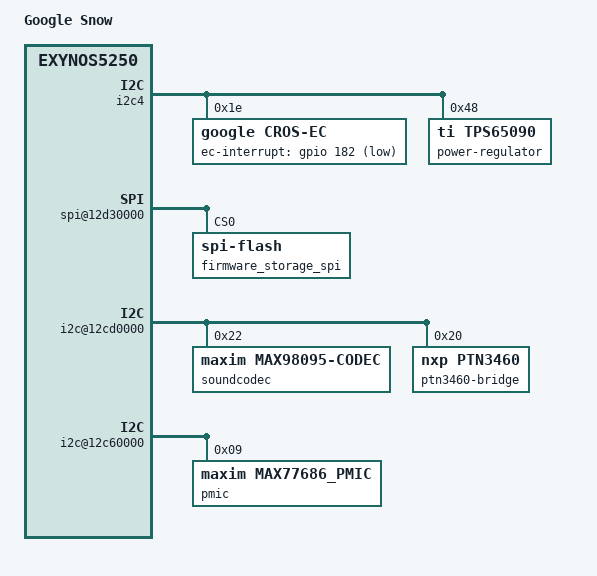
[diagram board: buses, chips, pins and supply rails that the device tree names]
/*
 * SAMSUNG Snow board device tree source
 *
 * Copyright (c) 2012 Samsung Electronics Co., Ltd.
 *		http://www.samsung.com
 *
 * This program is free software; you can redistribute it and/or modify
 * it under the terms of the GNU General Public License version 2 as
 * published by the Free Software Foundation.
*/

/dts-v1/;
#include "exynos5250.dtsi"

/ {
	model = "Google Snow";
	compatible = "google,snow", "samsung,exynos5250";

	aliases {
		i2c0 = "/i2c@12c60000";
		i2c1 = "/i2c@12c70000";
		i2c2 = "/i2c@12c80000";
		i2c3 = "/i2c@12c90000";
		i2c4 = "/i2c@12ca0000";
		i2c5 = "/i2c@12cb0000";
		i2c6 = "/i2c@12cc0000";
		i2c7 = "/i2c@12cd0000";
		spi0 = "/spi@12d20000";
		spi1 = "/spi@12d30000";
		spi2 = "/spi@12d40000";
		spi3 = "/spi@131a0000";
		spi4 = "/spi@131b0000";
		mmc0 = "/mmc@12200000";
		mmc1 = "/mmc@12210000";
		mmc2 = "/mmc@12220000";
		mmc3 = "/mmc@12230000";
		serial0 = "/serial@12C30000";
		console = "/serial@12C30000";
		i2s = "/sound@3830000";
	};

	i2c4: i2c@12ca0000 {
		cros-ec@1e {
			reg = <0x1e>;
			compatible = "google,cros-ec";
			i2c-max-frequency = <100000>;
			ec-interrupt = <&gpio 182 1>;
		};

		power-regulator@48 {
			compatible = "ti,tps65090";
			reg = <0x48>;
		};
	};

	spi@12d30000 {
		spi-max-frequency = <50000000>;
		firmware_storage_spi: flash@0 {
			compatible = "spi-flash";
			reg = <0>;
		};
	};

	spi@131b0000 {
		spi-max-frequency = <1000000>;
		spi-deactivate-delay = <100>;
		cros_ec: cros-ec@0 {
			reg = <0>;
			compatible = "google,cros-ec";
			spi-max-frequency = <5000000>;
			ec-interrupt = <&gpio 182 1>;
			optimise-flash-write;
			status = "disabled";
		};
	};

	sound@3830000 {
		samsung,codec-type = "max98095";
		codec-enable-gpio = <&gpio 0xb7 0>;
	};

	sound@12d60000 {
		status = "disabled";
	};

	i2c@12cd0000 {
		soundcodec@22 {
			reg = <0x22>;
			compatible = "maxim,max98095-codec";
		};

		ptn3460-bridge@20 {
			compatible = "nxp,ptn3460";
			reg = <0x20>;
			/*
			 * TODO(sjg@chromium.org): Use GPIOs here
			 * powerdown-gpio = <&gpy2 5 0>;
			 * reset-gpio = <&gpx1 5 0>;
			 * edid-emulation = <5>;
			 * pinctrl-names = "default";
			 * pinctrl-0 = <&ptn3460_gpios>;
			 */
		};
	};

	i2c@12c60000 {
		pmic@9 {
			reg = <0x9>;
			compatible = "maxim,max77686_pmic";
		};
	};

	mmc@12200000 {
		samsung,bus-width = <8>;
		samsung,timing = <1 3 3>;
		samsung,removable = <0>;
	};

	mmc@12210000 {
		status = "disabled";
	};

	mmc@12220000 {
		samsung,bus-width = <4>;
		samsung,timing = <1 2 3>;
		samsung,removable = <1>;
	};

	mmc@12230000 {
		status = "disabled";
	};

	ehci@12110000 {
		samsung,vbus-gpio = <&gpio 0xb1 0>; /* X11 */
	};

	xhci@12000000 {
		samsung,vbus-gpio = <&gpio 0xbf 0>; /* X27 */
	};

	tmu@10060000 {
		samsung,min-temp	= <25>;
		samsung,max-temp	= <125>;
		samsung,start-warning	= <95>;
		samsung,start-tripping	= <105>;
		samsung,hw-tripping	= <110>;
		samsung,efuse-min-value	= <40>;
		samsung,efuse-value	= <55>;
		samsung,efuse-max-value	= <100>;
		samsung,slope		= <274761730>;
		samsung,dc-value	= <25>;
	};

	fimd@14400000 {
		samsung,vl-freq = <60>;
		samsung,vl-col = <1366>;
		samsung,vl-row = <768>;
		samsung,vl-width = <1366>;
		samsung,vl-height = <768>;

		samsung,vl-clkp;
		samsung,vl-dp;
		samsung,vl-hsp;
		samsung,vl-vsp;

		samsung,vl-bpix = <4>;

		samsung,vl-hspw = <32>;
		samsung,vl-hbpd = <80>;
		samsung,vl-hfpd = <48>;
		samsung,vl-vspw = <5>;
		samsung,vl-vbpd = <14>;
		samsung,vl-vfpd = <3>;
		samsung,vl-cmd-allow-len = <0xf>;

		samsung,winid = <0>;
		samsung,interface-mode = <1>;
		samsung,dp-enabled = <1>;
		samsung,dual-lcd-enabled = <0>;
	};

	dp@145b0000 {
		samsung,lt-status = <0>;

		samsung,master-mode = <0>;
		samsung,bist-mode = <0>;
		samsung,bist-pattern = <0>;
		samsung,h-sync-polarity = <0>;
		samsung,v-sync-polarity = <0>;
		samsung,interlaced = <0>;
		samsung,color-space = <0>;
		samsung,dynamic-range = <0>;
		samsung,ycbcr-coeff = <0>;
		samsung,color-depth = <1>;
	};

};

#include "cros-ec-keyboard.dtsi"
